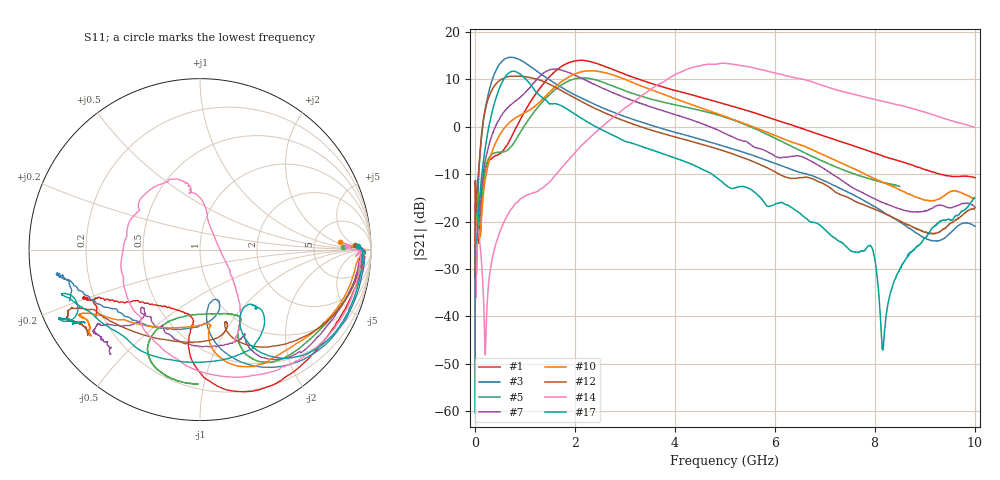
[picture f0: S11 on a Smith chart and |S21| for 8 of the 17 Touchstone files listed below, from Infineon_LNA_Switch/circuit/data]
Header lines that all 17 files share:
!Data & Calibration Information:
!Freq	S11:SOLT2(ON)	S21:SOLT2(ON)	S12:SOLT2(ON)	S22:SOLT2(ON)
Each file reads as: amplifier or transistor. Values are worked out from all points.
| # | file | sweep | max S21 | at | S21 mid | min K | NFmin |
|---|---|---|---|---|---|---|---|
| 1 | BGA6H1BN6_1P8_HG.S2P | 10 MHz to 10.01 GHz | 14.0 dB | 2.13 GHz | 4.7 dB at 5.01 GHz | 0.96 | 0.58 dB |
| 2 | BGA6H1BN6_2P8_HG.S2P | 10 MHz to 10.01 GHz | 14.6 dB | 2.12 GHz | 5.2 dB at 5.01 GHz | 1.02 | 0.60 dB |
| 3 | BGA6L1BN6_1P8_HG.S2P | 10 MHz to 10.01 GHz | 14.7 dB | 720 MHz | -4.2 dB at 5.01 GHz | 1.01 | 0.48 dB |
| 4 | BGA6L1BN6_2P8_HG.S2P | 10 MHz to 10.01 GHz | 15.1 dB | 720 MHz | -3.9 dB at 5.01 GHz | 1.05 | 0.49 dB |
| 5 | BGA7H1BN6_2V8_HG_2000MHz.S2P | 100 kHz to 8.5 GHz | 10.3 dB | 2.189 GHz | 4.1 dB at 4.25 GHz | 1.36 | 0.73 dB |
| 6 | BGA7H1BN6_2V8_HG_2500MHz.S2P | 100 kHz to 8.5 GHz | 10.3 dB | 2.178 GHz | 4.1 dB at 4.25 GHz | 1.36 | 0.73 dB |
| 7 | BGA8G1BN6_1P8V_HG.S2P | 10 MHz to 10.01 GHz | 12.2 dB | 1.62 GHz | -1.4 dB at 5.01 GHz | 0.67 | 0.19 dB |
| 8 | BGA8G1BN6_2P8V_HG.S2P | 10 MHz to 10.01 GHz | 12.2 dB | 1.6 GHz | -1.4 dB at 5.01 GHz | 0.63 | 0.75 dB |
| 9 | BGA8H1BN6_1P8V_HG.S2P | 300 kHz to 10 GHz | 11.6 dB | 2.306 GHz | 2.2 dB at 5 GHz | 1.36 | 0.82 dB |
| 10 | BGA8H1BN6_2P8V_HG.S2P | 300 kHz to 10 GHz | 11.8 dB | 2.313 GHz | 2.2 dB at 5 GHz | 1.40 | 0.83 dB |
| 11 | BGA8L1BN6_1P8V_HG.S2P | 300 kHz to 10 GHz | 10.5 dB | 875.3 MHz | -5.1 dB at 5 GHz | 1.31 | 0.76 dB |
| 12 | BGA8L1BN6_2P8V_HG.S2P | 300 kHz to 10 GHz | 10.7 dB | 875.3 MHz | -5.2 dB at 5 GHz | 1.33 | 0.77 dB |
| 13 | BGA8U1BN6_1P8V_HG.S2P | 300 kHz to 10 GHz | 13.4 dB | 4.925 GHz | 13.3 dB at 5 GHz | 1.43 | 1.52 dB |
| 14 | BGA8U1BN6_2P8V_HG.S2P | 300 kHz to 10 GHz | 13.4 dB | 4.944 GHz | 13.4 dB at 5 GHz | 1.43 | 1.54 dB |
| 15 | BGA8V1BN6_1P8V_HG.S2P | 300 kHz to 10 GHz | 15.0 dB | 3.331 GHz | 10.6 dB at 5 GHz | 1.95 | 1.03 dB |
| 16 | BGA8V1BN6_2P8V_HG.S2P | 300 kHz to 10 GHz | 15.3 dB | 3.331 GHz | 10.9 dB at 5 GHz | 1.95 | 1.04 dB |
| 17 | BGM12LBA9_RX1_1P8V_HG.S2P | 300 kHz to 10 GHz | 11.7 dB | 775.3 MHz | -12.1 dB at 5 GHz | 1.21 | 0.68 dB |
